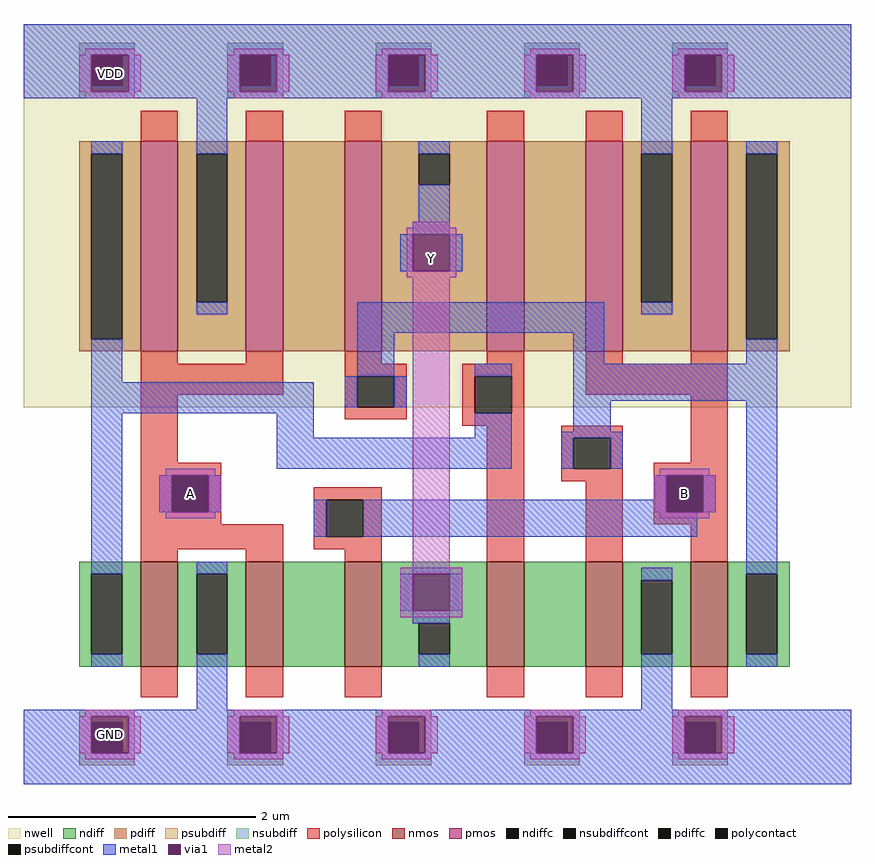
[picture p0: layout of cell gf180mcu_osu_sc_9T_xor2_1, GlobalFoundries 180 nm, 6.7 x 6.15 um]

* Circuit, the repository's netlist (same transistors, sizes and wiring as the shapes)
* NGSPICE file created from gf180mcu_osu_sc_9T_xor2_1.ext - technology: gf180mcuC

.inc "/import/yukari1/lrburle/globalfoundries-pdk-libs-gf180mcu_osu_sc/char/techfiles/design.hspice"
.lib "/import/yukari1/lrburle/globalfoundries-pdk-libs-gf180mcu_osu_sc/char/techfiles/sm141064.hspice" typical

X0 a_42_70# A VDD VDD pmos_3p3 w=1.7u l=0.3u
X1 GND a_52_59# a_81_19# GND nmos_3p3 w=0.85u l=0.3u
X2 VDD B a_81_70# VDD pmos_3p3 w=1.7u l=0.3u
X3 Y B a_42_19# GND nmos_3p3 w=0.85u l=0.3u
X4 GND A a_9_19# GND nmos_3p3 w=0.85u l=0.3u
X5 Y a_52_59# a_42_70# VDD pmos_3p3 w=1.7u l=0.3u
X6 VDD A a_9_19# VDD pmos_3p3 w=1.7u l=0.3u
X7 a_81_19# a_9_19# Y GND nmos_3p3 w=0.85u l=0.3u
X8 a_52_59# B GND GND nmos_3p3 w=0.85u l=0.3u
X9 a_81_70# a_9_19# Y VDD pmos_3p3 w=1.7u l=0.3u
X10 a_52_59# B VDD VDD pmos_3p3 w=1.7u l=0.3u
X11 a_42_19# A GND GND nmos_3p3 w=0.85u l=0.3u

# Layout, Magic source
magic
tech gf180mcuC
<< nwell >>
rect 0 61 134 123
<< nmos >>
rect 19 19 25 36
rect 36 19 42 36
rect 52 19 58 36
rect 75 19 81 36
rect 91 19 97 36
rect 108 19 114 36
<< pmos >>
rect 19 70 25 104
rect 36 70 42 104
rect 52 70 58 104
rect 75 70 81 104
rect 91 70 97 104
rect 108 70 114 104
<< ndiff >>
rect 9 34 19 36
rect 9 21 11 34
rect 16 21 19 34
rect 9 19 19 21
rect 25 34 36 36
rect 25 21 28 34
rect 33 21 36 34
rect 25 19 36 21
rect 42 19 52 36
rect 58 26 75 36
rect 58 21 64 26
rect 69 21 75 26
rect 58 19 75 21
rect 81 19 91 36
rect 97 33 108 36
rect 97 21 100 33
rect 105 21 108 33
rect 97 19 108 21
rect 114 34 124 36
rect 114 21 117 34
rect 122 21 124 34
rect 114 19 124 21
<< pdiff >>
rect 9 102 19 104
rect 9 72 11 102
rect 16 72 19 102
rect 9 70 19 72
rect 25 102 36 104
rect 25 78 28 102
rect 33 78 36 102
rect 25 70 36 78
rect 42 70 52 104
rect 58 102 75 104
rect 58 97 64 102
rect 69 97 75 102
rect 58 70 75 97
rect 81 70 91 104
rect 97 102 108 104
rect 97 78 100 102
rect 105 78 108 102
rect 97 70 108 78
rect 114 102 124 104
rect 114 72 117 102
rect 122 72 124 102
rect 114 70 124 72
<< ndiffc >>
rect 11 21 16 34
rect 28 21 33 34
rect 64 21 69 26
rect 100 21 105 33
rect 117 21 122 34
<< pdiffc >>
rect 11 72 16 102
rect 28 78 33 102
rect 64 97 69 102
rect 100 78 105 102
rect 117 72 122 102
<< psubdiff >>
rect 9 10 18 12
rect 9 5 11 10
rect 16 5 18 10
rect 9 3 18 5
rect 33 10 42 12
rect 33 5 35 10
rect 40 5 42 10
rect 33 3 42 5
rect 57 10 66 12
rect 57 5 59 10
rect 64 5 66 10
rect 57 3 66 5
rect 81 10 90 12
rect 81 5 83 10
rect 88 5 90 10
rect 81 3 90 5
rect 105 10 114 12
rect 105 5 107 10
rect 112 5 114 10
rect 105 3 114 5
<< nsubdiff >>
rect 9 118 18 120
rect 9 113 11 118
rect 16 113 18 118
rect 9 111 18 113
rect 33 118 42 120
rect 33 113 35 118
rect 40 113 42 118
rect 33 111 42 113
rect 57 118 66 120
rect 57 113 59 118
rect 64 113 66 118
rect 57 111 66 113
rect 81 118 90 120
rect 81 113 83 118
rect 88 113 90 118
rect 81 111 90 113
rect 105 118 114 120
rect 105 113 107 118
rect 112 113 114 118
rect 105 111 114 113
<< psubdiffcont >>
rect 11 5 16 10
rect 35 5 40 10
rect 59 5 64 10
rect 83 5 88 10
rect 107 5 112 10
<< nsubdiffcont >>
rect 11 113 16 118
rect 35 113 40 118
rect 59 113 64 118
rect 83 113 88 118
rect 107 113 112 118
<< polysilicon >>
rect 19 104 25 109
rect 36 104 42 109
rect 52 104 58 109
rect 75 104 81 109
rect 91 104 97 109
rect 108 104 114 109
rect 19 68 25 70
rect 36 68 42 70
rect 19 63 42 68
rect 52 68 58 70
rect 75 68 81 70
rect 52 66 62 68
rect 19 52 25 63
rect 52 61 54 66
rect 60 61 62 66
rect 52 59 62 61
rect 71 66 81 68
rect 71 60 73 66
rect 79 60 81 66
rect 91 68 97 70
rect 108 68 114 70
rect 91 63 114 68
rect 71 58 81 60
rect 19 50 32 52
rect 19 44 24 50
rect 30 44 32 50
rect 19 42 32 44
rect 47 46 58 48
rect 19 38 42 42
rect 47 40 49 46
rect 55 40 58 46
rect 47 38 58 40
rect 19 36 25 38
rect 36 36 42 38
rect 52 36 58 38
rect 75 36 81 58
rect 87 56 97 58
rect 87 51 89 56
rect 95 51 97 56
rect 108 52 114 63
rect 87 49 97 51
rect 91 36 97 49
rect 102 50 114 52
rect 102 44 104 50
rect 110 44 114 50
rect 102 42 114 44
rect 108 36 114 42
rect 19 14 25 19
rect 36 14 42 19
rect 52 14 58 19
rect 75 14 81 19
rect 91 14 97 19
rect 108 14 114 19
<< polycontact >>
rect 54 61 60 66
rect 73 60 79 66
rect 24 44 30 50
rect 49 40 55 46
rect 89 51 95 56
rect 104 44 110 50
<< metal1 >>
rect 0 118 134 123
rect 0 112 11 118
rect 17 112 35 118
rect 41 112 59 118
rect 65 112 83 118
rect 89 112 107 118
rect 113 112 134 118
rect 0 111 134 112
rect 11 102 16 104
rect 28 102 33 111
rect 64 102 69 104
rect 64 91 69 97
rect 63 89 69 91
rect 100 102 105 111
rect 61 83 63 89
rect 69 83 71 89
rect 28 76 33 78
rect 11 65 16 72
rect 54 73 94 78
rect 100 76 105 78
rect 117 102 122 104
rect 54 66 60 73
rect 89 68 94 73
rect 117 68 122 72
rect 73 66 79 68
rect 11 60 47 65
rect 52 61 54 66
rect 60 61 62 66
rect 11 34 16 60
rect 41 56 47 60
rect 73 56 79 60
rect 89 62 122 68
rect 89 57 95 62
rect 41 51 79 56
rect 87 56 97 57
rect 87 51 89 56
rect 95 51 97 56
rect 22 44 24 50
rect 30 44 32 50
rect 102 46 104 50
rect 47 40 49 46
rect 55 44 104 46
rect 110 44 112 50
rect 55 40 109 44
rect 11 19 16 21
rect 28 34 33 36
rect 63 34 69 35
rect 61 28 63 34
rect 69 28 71 34
rect 100 33 105 35
rect 63 26 69 28
rect 28 12 33 21
rect 64 19 69 21
rect 100 12 105 21
rect 117 34 122 62
rect 117 19 122 21
rect 0 11 134 12
rect 0 5 11 11
rect 17 5 35 11
rect 41 5 59 11
rect 65 5 83 11
rect 89 5 107 11
rect 113 5 134 11
rect 0 0 134 5
<< via1 >>
rect 11 113 16 118
rect 16 113 17 118
rect 11 112 17 113
rect 35 113 40 118
rect 40 113 41 118
rect 35 112 41 113
rect 59 113 64 118
rect 64 113 65 118
rect 59 112 65 113
rect 83 113 88 118
rect 88 113 89 118
rect 83 112 89 113
rect 107 113 112 118
rect 112 113 113 118
rect 107 112 113 113
rect 63 83 69 89
rect 24 44 30 50
rect 104 44 110 50
rect 63 28 69 34
rect 11 10 17 11
rect 11 5 16 10
rect 16 5 17 10
rect 35 10 41 11
rect 35 5 40 10
rect 40 5 41 10
rect 59 10 65 11
rect 59 5 64 10
rect 64 5 65 10
rect 83 10 89 11
rect 83 5 88 10
rect 88 5 89 10
rect 107 10 113 11
rect 107 5 112 10
rect 112 5 113 10
<< metal2 >>
rect 10 118 18 119
rect 34 118 42 119
rect 58 118 66 119
rect 82 118 90 119
rect 106 118 114 119
rect 9 112 11 118
rect 17 112 19 118
rect 33 112 35 118
rect 41 112 43 118
rect 57 112 59 118
rect 65 112 67 118
rect 81 112 83 118
rect 89 112 91 118
rect 105 112 107 118
rect 113 112 115 118
rect 10 111 18 112
rect 34 111 42 112
rect 58 111 66 112
rect 82 111 90 112
rect 106 111 114 112
rect 63 90 69 91
rect 62 89 70 90
rect 62 83 63 89
rect 69 83 70 89
rect 62 82 70 83
rect 23 50 31 51
rect 22 44 24 50
rect 30 44 32 50
rect 23 43 31 44
rect 63 35 69 82
rect 103 50 111 51
rect 102 44 104 50
rect 110 44 112 50
rect 103 43 111 44
rect 61 34 71 35
rect 61 28 63 34
rect 69 28 71 34
rect 61 27 71 28
rect 10 11 18 12
rect 34 11 42 12
rect 58 11 66 12
rect 82 11 90 12
rect 106 11 114 12
rect 9 5 11 11
rect 17 5 19 11
rect 33 5 35 11
rect 41 5 43 11
rect 57 5 59 11
rect 65 5 67 11
rect 81 5 83 11
rect 89 5 91 11
rect 105 5 107 11
rect 113 5 115 11
rect 10 4 18 5
rect 34 4 42 5
rect 58 4 66 5
rect 82 4 90 5
rect 106 4 114 5
<< labels >>
rlabel metal2 14 115 14 115 1 VDD
rlabel metal2 14 8 14 8 1 GND
rlabel metal2 66 85 66 85 1 Y
port 3 n
rlabel metal2 27 47 27 47 1 A
port 1 n
rlabel metal2 107 47 107 47 1 B
port 4 n
<< end >>
